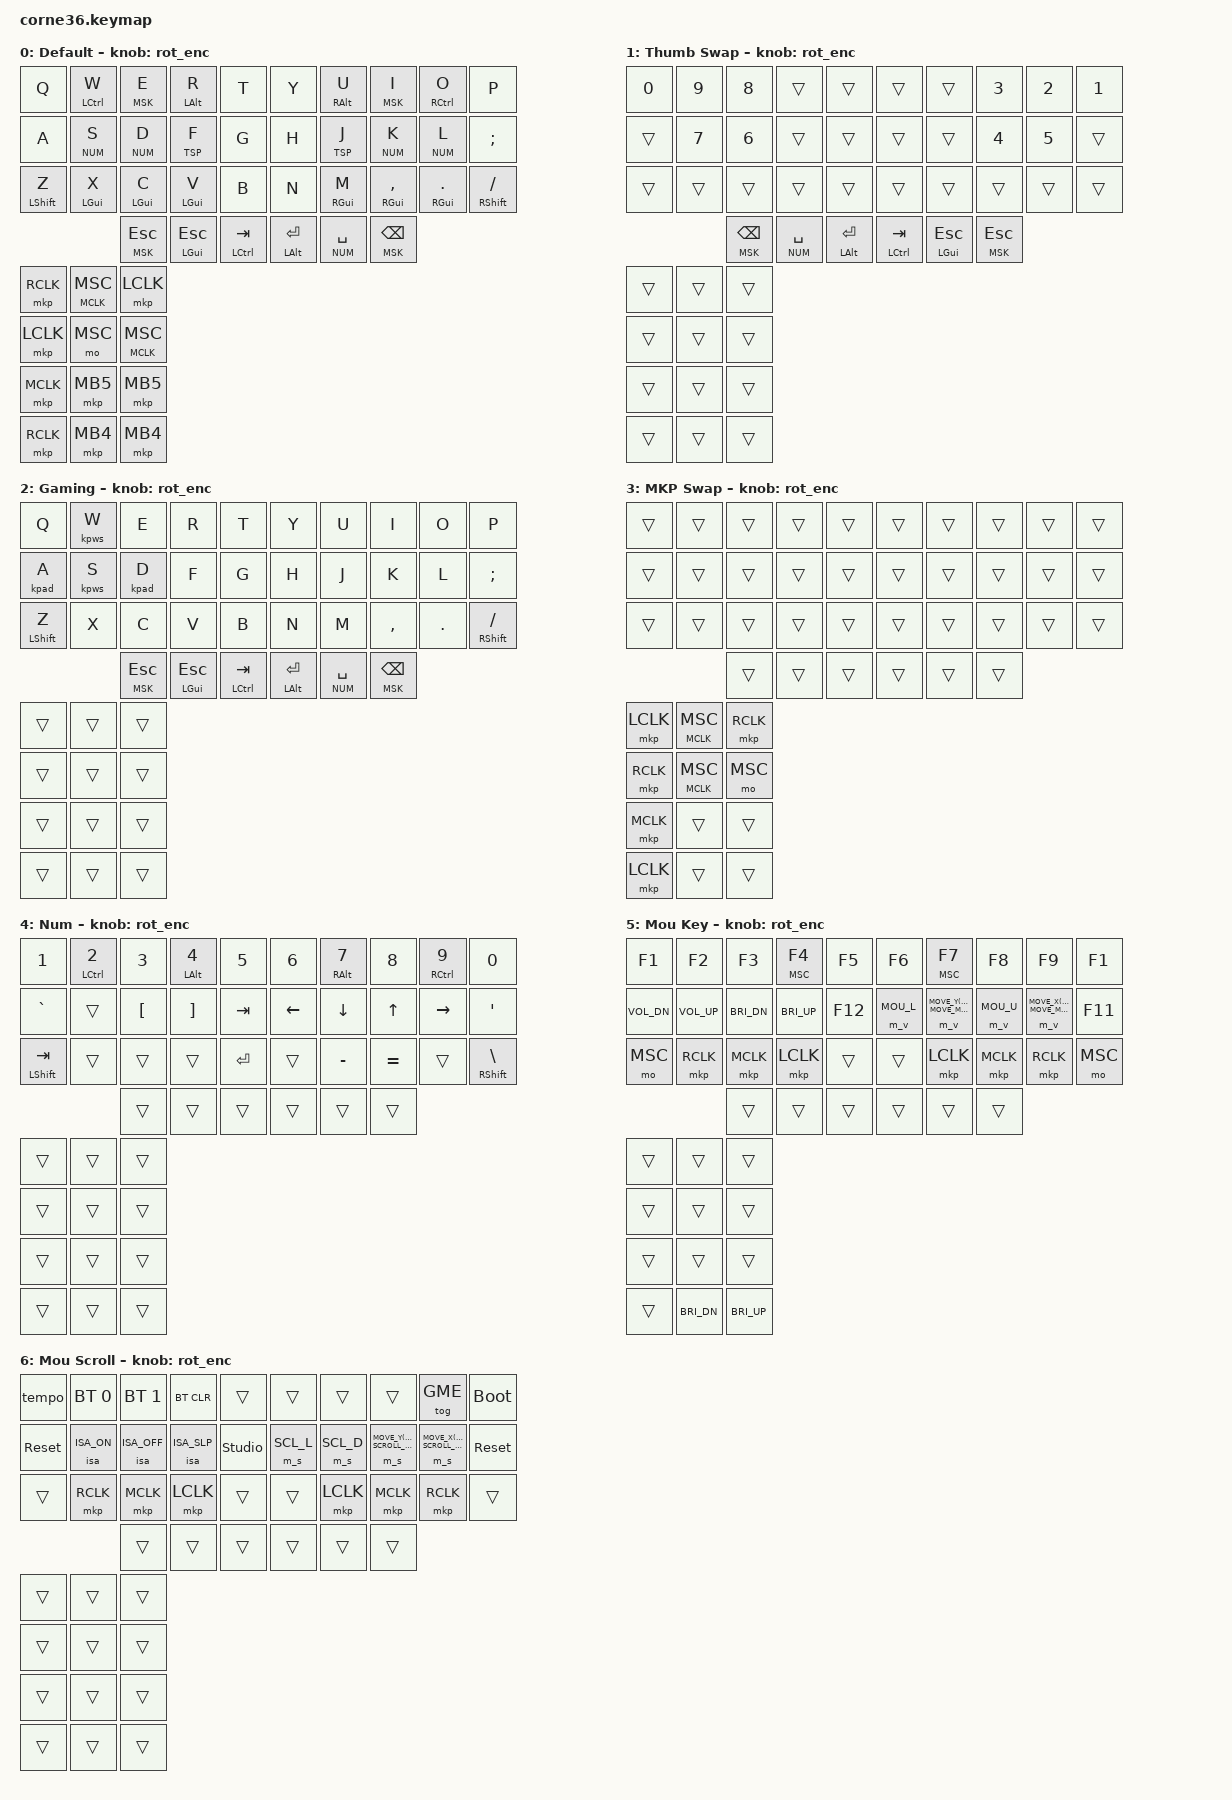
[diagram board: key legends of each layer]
/*
 * Copyright (c) 2020 The ZMK Contributors
 *
 * SPDX-License-Identifier: MIT
 */

#include <zephyr/dt-bindings/input/input-event-codes.h>

#include <behaviors.dtsi>
#include <behaviors/studio_unlock.dtsi>
#include <behaviors/mouse_keys.dtsi>
#include <behaviors/mouse_key_press.dtsi>
#include <behaviors/mouse_key_toggle.dtsi>
#include <dt-bindings/zmk/keys.h>
#include <dt-bindings/zmk/bt.h>
#include <dt-bindings/zmk/rgb.h>
#include <dt-bindings/zmk/ext_power.h>
#include <dt-bindings/zmk/outputs.h>
#include <dt-bindings/zmk/mouse.h>
#include <dt-bindings/zmk/input_transform.h>

#include <behaviors/insomnia.dtsi>
#include <dt-bindings/zmk/insomnia.h>

#define DEF 0
#define TSP 1
#define GME 2
#define LHB 3
#define NUM 4
#define MSK 5
#define MSC 6

#ifndef MOVE_Y
#define MOVE_Y(n) (0)
#endif
#ifndef MOVE_X
#define MOVE_X(n) (0)
#endif

#define U_MOUSE_MOVE_MAX 1700
#define MOU_U MOVE_Y(-U_MOUSE_MOVE_MAX)
#define MOU_D MOVE_Y(U_MOUSE_MOVE_MAX)
#define MOU_L MOVE_X(-U_MOUSE_MOVE_MAX)
#define MOU_R MOVE_X(U_MOUSE_MOVE_MAX)

#define U_MOUSE_SCROLL_MAX 10
#define SCL_U MOVE_Y(U_MOUSE_SCROLL_MAX)
#define SCL_D MOVE_Y(-U_MOUSE_SCROLL_MAX)
#define SCL_L MOVE_X(-U_MOUSE_SCROLL_MAX)
#define SCL_R MOVE_X(U_MOUSE_SCROLL_MAX)

/ {
        xy_transf: xy_transf {
                compatible = "zmk,input-processor-transform";
                #input-processor-cells = <1>;
                type = <INPUT_EV_REL>;
                x-codes = <INPUT_REL_X>, <INPUT_REL_WHEEL>;
                y-codes = <INPUT_REL_Y>, <INPUT_REL_HWHEEL>;
        };
        xy_scaler: xy_scaler {
                compatible = "zmk,input-processor-scaler";
                #input-processor-cells = <2>;
                type = <INPUT_EV_REL>;
                codes = <INPUT_REL_X>, <INPUT_REL_Y>;
                track-remainders;
        };
        x_scaler: x_scaler {
                compatible = "zmk,input-processor-scaler";
                #input-processor-cells = <2>;
                type = <INPUT_EV_REL>;
                codes = <INPUT_REL_X>;
        };
        to_wheel: to_wheel {
                compatible = "zmk,input-processor-code-mapper";
                #input-processor-cells = <0>;
                type = <INPUT_EV_REL>;
                map = <INPUT_REL_X INPUT_REL_HWHEEL>
                    , <INPUT_REL_Y INPUT_REL_WHEEL>;
        };

        tpoint0_mmv_il {
                compatible = "zmk,input-listener";
                device = <&tpoint0>;
                input-processors = <&xy_transf (INPUT_TRANSFORM_Y_INVERT)>;
                precise {
                        layers = <NUM>;
                        inherit;
                        input-processors = <&xy_scaler 2 3>;
                };
                scroll {
                        layers = <MSC>;
                        inherit;
                        input-processors = <&xy_scaler 1 22>, <&x_scaler 0 1>
                                         , <&to_wheel>;
                };
        };

        behaviors {
                m_v: mouse_move {
                        compatible = "zmk,behavior-input-two-axis";
                        #binding-cells = <1>;
                        trigger-period-ms = <12>; // slow down for OTA, default is 3ms
                        x-input-code = <INPUT_REL_X>;
                        y-input-code = <INPUT_REL_Y>;
                        time-to-max-speed-ms = <300>;
                        acceleration-exponent = <1>;
                };
                m_s: mouse_scroll {
                        compatible = "zmk,behavior-input-two-axis";
                        #binding-cells = <1>;
                        trigger-period-ms = <12>; // slow down for OTA, default is 3ms
                        x-input-code = <INPUT_REL_HWHEEL>;
                        y-input-code = <INPUT_REL_WHEEL>;
                        time-to-max-speed-ms = <50>;
                        acceleration-exponent = <1>;
                };
                ec_s: mouse_scroll {
                        compatible = "zmk,behavior-input-two-axis";
                        #binding-cells = <1>;
                        trigger-period-ms = <12>; // slow down for OTA, default is 3ms
                        x-input-code = <INPUT_REL_HWHEEL>;
                        y-input-code = <INPUT_REL_WHEEL>;
                        time-to-max-speed-ms = <277>;
                        acceleration-exponent = <0>;
                };
                rot_enc: sensor_rotate {
                        compatible = "zmk,behavior-sensor-rotate";
                        #sensor-binding-cells = <0>;
                        bindings = <&ec_s MOVE_Y(-17)>, <&ec_s MOVE_Y(17)>;
                        tap-ms = <65>;
                };
        };

        //   0   1   2   3   4     5   6   7   8   9  <-- split keyboard
        //  10  11  12  13  14    15  16  17  18  19
        //  20  21  22  23  24    25  26  27  28  29
        //          30  31  32    33  34  35
        //  36  37  38  <-- generic pointer devices
        //  39  40  41  <-- mouse devices
        //  42  43  44
        //  45  46  47

        behaviors {
                hm_l: homerow_mods_left {
                        compatible = "zmk,behavior-hold-tap"; #binding-cells = <2>;
                        tapping-term-ms = <200>; quick-tap-ms = <200>;
                        flavor = "tap-preferred"; bindings = <&kp>, <&kp>;
                };
                hm_r: homerow_mods_right {
                        compatible = "zmk,behavior-hold-tap"; #binding-cells = <2>;
                        tapping-term-ms = <200>; quick-tap-ms = <200>;
                        flavor = "tap-preferred"; bindings = <&kp>, <&kp>;
                };
                hl_l: homerow_layers_left {
                        compatible = "zmk,behavior-hold-tap"; #binding-cells = <2>;
                        tapping-term-ms = <200>; quick-tap-ms = <200>;
                        flavor = "tap-preferred"; bindings = <&mo>, <&kp>;
                };
                hl_r: homerow_layers_right {
                        compatible = "zmk,behavior-hold-tap"; #binding-cells = <2>;
                        tapping-term-ms = <200>; quick-tap-ms = <200>;
                        flavor = "tap-preferred"; bindings = <&mo>, <&kp>;
                };
                hmkp_tg: hold_mouse_key_press_tap_toggle {
                        compatible = "zmk,behavior-hold-tap"; #binding-cells = <2>;
                        tapping-term-ms = <200>; quick-tap-ms = <200>;
                        flavor = "tap-preferred"; bindings = <&mkp>, <&tog>;
                };
        };

        kpad: key_kip_a_d {
                compatible = "zmk,behavior-key-press-lip";
                #binding-cells = <1>;
                keycodes = <A D>;
        };
        kpws: key_kip_w_s {
                compatible = "zmk,behavior-key-press-lip";
                #binding-cells = <1>;
                keycodes = <W S>;
        };

        tempo: key_tempo {
                compatible = "zmk,behavior-key-tempo";
                #binding-cells = <0>;
                usage-pages = <HID_USAGE_KEY HID_USAGE_CONSUMER>;
        };

        keymap {
                compatible = "zmk,keymap";
                DEF_layer {
// +------------------------------------------------------+     +--------------------------------------------------------+
// |     Q    |  LCTRL:W |  _MSK:E  |  LALT:R  |     T    |     |     Y     |  RALT:U  |  _MSK:I   |  RCTRL:O |     P    |
// |     A    |  _NUM:S  |  _NUM:D  |  _TSP:F  |     G    |     |     H     |  _TSP:J  |  _NUM:K   |  _NUM:L  |     ;:   |
// |  SHFT Z  |  LGUI:X  |  LGUI:C  |  LGUI:V  |     B    |     |     N     |  RGUI:M  |  RGUI:,<  |  RGUI:.> |  SHFT /? |
//                       | ^MSK:ESC |  GUI:ESC | CTRL:TAB |     |  ALT:ENT  | _NUM:SPC | ^MSK:BKSP |
                        display-name = "Default";
                        bindings = <
   &kp Q          &hm_l LCTRL W   &hl_l MSK E    &hm_l LALT R    &kp T               &kp Y           &hm_r RALT U     &hl_r MSK I       &hm_r RCTRL O   &kp P
   &kp A          &hl_l NUM S     &hl_l NUM D    &hl_l TSP F     &kp G               &kp H           &hl_r TSP J      &hl_r NUM K       &hl_r NUM L     &kp SEMI
   &mt LSHFT Z    &hm_l LGUI X    &hm_l LGUI C   &hm_l LGUI V    &kp B               &kp N           &hm_r RGUI M     &hm_r RGUI COMMA  &hm_r RGUI DOT  &mt RSHFT FSLH
                                  &lt MSK ESC    &mt LGUI ESC    &mt LCTRL TAB       &mt LALT RET    &lt NUM SPACE    &lt MSK BKSP
   &mkp RCLK   &hmkp_tg MCLK MSC   &mkp LCLK
   &mkp LCLK   &mo MSC             &hmkp_tg MCLK MSC
   &mkp MCLK   &mkp MB5            &mkp MB5
   &mkp RCLK   &mkp MB4            &mkp MB4
                        >;
                        sensor-bindings = <&rot_enc>;
                };
                TSP_layer {
                        display-name = "Thumb Swap";
                        bindings = <
   &kp N0  &kp N9  &kp N8         &trans          &trans          &trans          &trans         &kp N3  &kp N2  &kp N1
   &trans  &kp N7  &kp N6         &trans          &trans          &trans          &trans         &kp N4  &kp N5  &trans
   &trans  &trans  &trans         &trans          &trans          &trans          &trans         &trans  &trans  &trans
                   &lt MSK BKSP   &lt NUM SPACE   &mt LALT RET    &mt LCTRL TAB   &mt LGUI ESC   &lt MSK ESC
   &trans   &trans   &trans
   &trans   &trans   &trans
   &trans   &trans   &trans
   &trans   &trans   &trans
                        >;
                        sensor-bindings = <&rot_enc>;
                };
                GME_layer {
// +------------------------------------------------------+     +--------------------------------------------------------+
// |     Q    |     W    |     E    |     R    |     T    |     |     Y     |     U    |     I     |     O    |     P    |
// |     A    |     S    |     D    |     F    |     G    |     |     H     |     J    |     K     |     L    |     ;:   |
// |  SHFT Z  |     X    |     C    |     V    |     B    |     |     N     |     M    |    ,<     |    .>    |  SHFT /? |
//                       | ^MSK:ESC |  GUI:ESC | CTRL:TAB |     |  ALT:ENT  | _NUM:SPC | ^MSK:BKSP |
                        display-name = "Gaming";
                        bindings = <
   &kp Q          &kpws W         &kp E          &kp R           &kp T               &kp Y           &kp U            &kp I           &kp O           &kp P
   &kpad A        &kpws S         &kpad D        &kp F           &kp G               &kp H           &kp J            &kp K           &kp L           &kp SEMI
   &mt LSHFT Z    &kp X           &kp C          &kp V           &kp B               &kp N           &kp M            &kp COMMA       &kp DOT         &mt RSHFT FSLH
                                  &lt MSK ESC    &mt LGUI ESC    &mt LCTRL TAB       &mt LALT RET    &lt NUM SPACE    &lt MSK BKSP
   &trans   &trans   &trans
   &trans   &trans   &trans
   &trans   &trans   &trans
   &trans   &trans   &trans
                        >;
                        sensor-bindings = <&rot_enc>;
                };
                LHB_layer {
                        display-name = "MKP Swap";
                        bindings = <
   &trans  &trans  &trans  &trans  &trans    &trans  &trans  &trans  &trans  &trans
   &trans  &trans  &trans  &trans  &trans    &trans  &trans  &trans  &trans  &trans
   &trans  &trans  &trans  &trans  &trans    &trans  &trans  &trans  &trans  &trans
                   &trans  &trans  &trans    &trans  &trans  &trans
   &mkp LCLK   &hmkp_tg MCLK MSC   &mkp RCLK
   &mkp RCLK   &hmkp_tg MCLK MSC   &mo MSC
   &mkp MCLK   &trans              &trans
   &mkp LCLK   &trans              &trans
                        >;
                        sensor-bindings = <&rot_enc>;
                };
                NUM_layer {
// +------------------------------------------------------+     +-------------------------------------------------------+
// |    1!    | LCTRL:2@  |    3#    | LALT:4$  |    5%   |     |    6^    |  RALT:7& |    8&    |  RCTRL 9( |    0)    |
// |    `~    |           |    {[    |    ]}    |   TAB   |     |    LFT   |   DWN    |    UP    |    RGT    |    '"    |
// | SHFT TAB |           |          |          |   RET   |     |          |    -_    |    =+    |           |  SHFT \| |
//                        |          |          |         |     |          |    (H)   |          |
                        display-name = "Num";
                        bindings = <
   &kp N1             &hm_l LCTRL N2   &kp N3     &hm_l LALT N4   &kp N5              &kp N6      &hm_r RALT N7   &kp N8      &hm_r RCTRL N9   &kp N0
   &kp GRAVE          &trans           &kp LBKT   &kp RBKT        &kp TAB             &kp LEFT    &kp DOWN        &kp UP      &kp RIGHT        &kp SQT
   &mt LSHFT TAB      &trans           &trans     &trans          &kp RET             &trans      &kp MINUS       &kp EQUAL   &trans           &mt RSHFT BSLH
                                       &trans     &trans          &trans              &trans      &trans          &trans
   &trans   &trans   &trans
   &trans   &trans   &trans
   &trans   &trans   &trans
   &trans   &trans   &trans
                        >;
                        sensor-bindings = <&rot_enc>;
                };
                MSK_layer {
// +------------------------------------------------------+     +------------------------------------------------------+
// |    F1    |    F2    |  (H) F3  |  _MSC:F4 |    F5    |     |    F6    |  _MSC:F7 |  (H) F8  |    F9    |   F10    |
// |   VOLD   |   VOLU   |   BRID   |   BRIU   |   F12    |     |   MLFT   |   MDWN   |    MUP   |   MRGT   |   F11    |
// |   _MSC   |   RCLK   |   MCLK   |   LCLK   |          |     |          |   LCLK   |   MCLK   |   RCLK   |  _MSC    |
//                       |   (H)    |          |          |     |          |          |    (H)   |
                        display-name = "Mou Key";
                        bindings = <
   &kp F1        &kp F2        &kp F3        &lt MSC F4    &kp F5            &kp F6      &lt MSC F7  &kp F8      &kp F9      &kp F1
   &kp C_VOL_DN  &kp C_VOL_UP  &kp C_BRI_DN  &kp C_BRI_UP  &kp F12           &m_v MOU_L  &m_v MOU_D  &m_v MOU_U  &m_v MOU_R  &kp F11
   &mo MSC       &mkp RCLK     &mkp MCLK     &mkp LCLK     &trans            &trans      &mkp LCLK   &mkp MCLK   &mkp RCLK   &mo MSC
                               &trans        &trans        &trans            &trans      &trans      &trans
   &trans   &trans   &trans
   &trans   &trans   &trans
   &trans   &trans   &trans
   &trans   &kp C_BRI_DN   &kp C_BRI_UP
                        >;
                        sensor-bindings = <&rot_enc>;
                };
                MSC_layer {
// +------------------------------------------------------+     +------------------------------------------------------+
// |   TEMPO  |   BT_0   | (H) BT_1 | (H) BT_C |          |     |          |    (H)   |    (H)   |   ^GME   |    DFU   |
// |   RESET  |  ISA_ON  |  ISA_OFF |  ISA_SLP |          |     |   SLFT   |   SDWN   |    SUP   |   SRGT   |   RESET  |
// |    (H)   |   RCLK   |   MCLK   |   LCLK   |          |     |          |   LCLK   |   MCLK   |   RCLK   |    (H)   |
//                       |   (H)    |          |          |     |          |          |    (H)   |
                        display-name = "Mou Scroll";
                        bindings = <
   &tempo      &bt BT_SEL 0  &bt BT_SEL 1  &bt BT_CLR    &trans            &trans       &trans        &trans      &tog GME      &bootloader
   &sys_reset  &isa ISA_ON   &isa ISA_OFF  &isa ISA_SLP  &studio_unlock    &m_s SCL_L   &m_s SCL_D    &m_s SCL_U  &m_s SCL_R    &sys_reset
   &trans      &mkp RCLK     &mkp MCLK     &mkp LCLK     &trans            &trans       &mkp LCLK     &mkp MCLK   &mkp RCLK     &trans
                             &trans        &trans        &trans            &trans       &trans        &trans
   &trans   &trans   &trans
   &trans   &trans   &trans
   &trans   &trans   &trans
   &trans   &trans   &trans
                        >;
                        sensor-bindings = <&rot_enc>;
                };
       };
};
